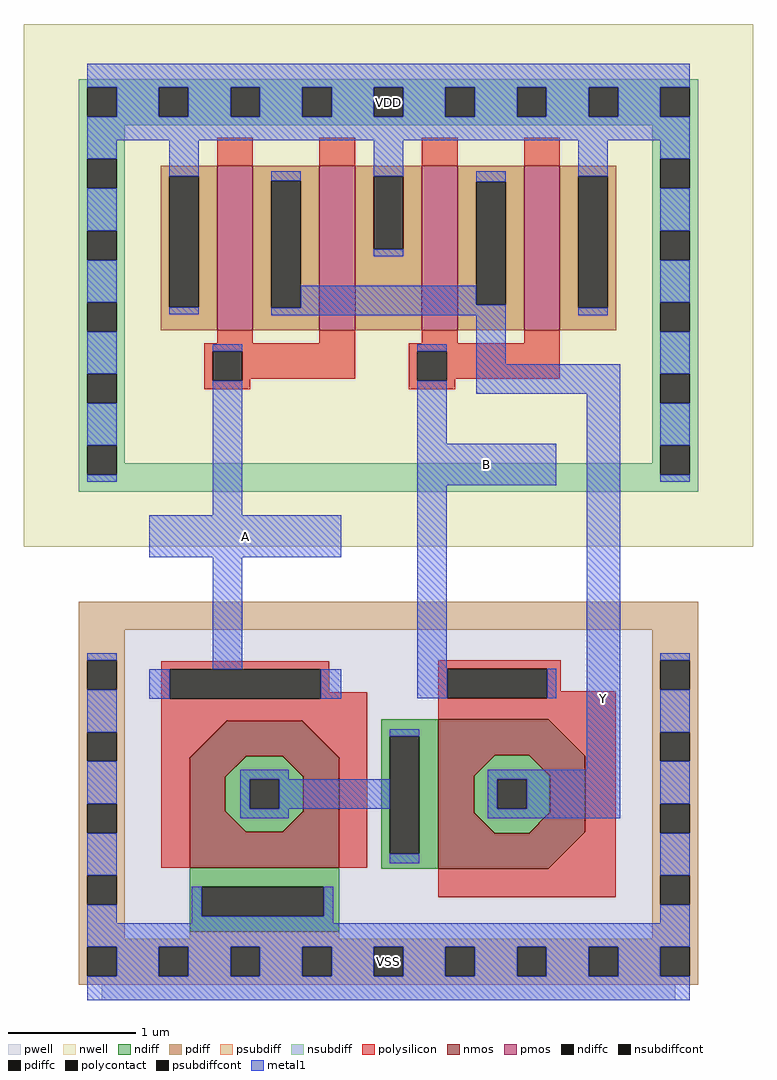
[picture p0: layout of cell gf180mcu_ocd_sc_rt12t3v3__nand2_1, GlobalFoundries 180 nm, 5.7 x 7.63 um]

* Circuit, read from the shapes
.subckt gf180mcu_ocd_sc_rt12t3v3__nand2_1 VDD VSS Y B A
XM1 n1 A VSS VSS nfet_03v3 w=1.785u l=0.5364u
XM2 Y B n1 VSS nfet_03v3 w=1.785u l=0.5424u
XM3 Y A VDD VDD pfet_03v3 w=1.285u l=0.28u m=2
XM4 Y B VDD VDD pfet_03v3 w=1.285u l=0.28u m=2
.ends

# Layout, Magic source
magic
tech gf180mcuD
magscale 1 10
<< nwell >>
rect -122 649 1018 1466
<< pwell >>
rect -36 -36 932 563
rect 0 -60 896 -36
<< nmos >>
tri 137 319 195 377 se
rect 195 321 313 377
rect 195 319 223 321
tri 223 319 225 321 nw
tri 283 319 285 321 ne
rect 285 319 313 321
tri 313 319 371 377 sw
rect 137 203 193 319
tri 193 289 223 319 nw
tri 285 289 315 319 ne
tri 193 203 225 235 sw
tri 283 203 315 235 se
rect 315 203 371 319
rect 137 147 371 203
rect 526 323 698 379
rect 526 201 582 323
tri 582 291 614 323 nw
tri 668 293 698 323 ne
tri 698 321 756 379 sw
rect 698 293 756 321
tri 698 291 700 293 ne
tri 582 201 614 233 sw
tri 698 231 700 233 se
rect 700 231 756 293
tri 668 201 698 231 se
rect 698 203 756 231
rect 526 145 698 201
tri 698 145 756 203 nw
<< pmos >>
rect 180 987 236 1244
rect 340 987 396 1244
rect 500 987 556 1244
rect 660 987 716 1244
<< ndiff >>
tri 223 319 225 321 se
rect 225 319 283 321
tri 283 319 285 321 sw
tri 193 289 223 319 se
rect 223 289 285 319
tri 285 289 315 319 sw
rect 193 285 315 289
rect 193 239 231 285
rect 277 239 315 285
rect 193 235 315 239
tri 193 203 225 235 ne
rect 225 203 283 235
tri 283 203 315 235 nw
rect 437 352 526 379
rect 437 169 450 352
rect 496 169 526 352
tri 582 291 614 323 se
rect 614 293 668 323
tri 668 293 698 323 sw
rect 614 291 698 293
tri 698 291 700 293 sw
rect 582 285 700 291
rect 582 239 618 285
rect 664 239 700 285
rect 582 233 700 239
tri 582 201 614 233 ne
rect 614 231 698 233
tri 698 231 700 233 nw
rect 614 201 668 231
tri 668 201 698 231 nw
rect 137 117 371 147
rect 437 145 526 169
rect 137 71 156 117
rect 347 71 371 117
rect 137 47 371 71
<< pdiff >>
rect 92 1228 180 1244
rect 92 1023 105 1228
rect 151 1023 180 1228
rect 92 987 180 1023
rect 236 1221 340 1244
rect 236 1022 265 1221
rect 311 1022 340 1221
rect 236 987 340 1022
rect 396 1228 500 1244
rect 396 1114 425 1228
rect 471 1114 500 1228
rect 396 987 500 1114
rect 556 1219 660 1244
rect 556 1027 585 1219
rect 631 1027 660 1219
rect 556 987 660 1027
rect 716 1228 804 1244
rect 716 1022 745 1228
rect 791 1022 804 1228
rect 716 987 804 1022
<< ndiffc >>
rect 231 239 277 285
rect 450 169 496 352
rect 618 239 664 285
rect 156 71 347 117
<< pdiffc >>
rect 105 1023 151 1228
rect 265 1022 311 1221
rect 425 1114 471 1228
rect 585 1027 631 1219
rect 745 1022 791 1228
<< psubdiff >>
rect -36 519 932 563
rect -36 471 36 519
rect 860 471 932 519
rect -36 425 -23 471
rect 23 425 36 471
rect -36 359 36 425
rect -36 313 -23 359
rect 23 313 36 359
rect -36 247 36 313
rect -36 201 -23 247
rect 23 201 36 247
rect -36 135 36 201
rect 860 425 873 471
rect 919 425 932 471
rect -36 89 -23 135
rect 23 89 36 135
rect -36 36 36 89
rect 860 359 932 425
rect 860 313 873 359
rect 919 313 932 359
rect 860 247 932 313
rect 860 201 873 247
rect 919 201 932 247
rect 860 135 932 201
rect 137 36 371 47
rect 860 89 873 135
rect 919 89 932 135
rect 860 36 932 89
rect -36 23 932 36
rect -36 -23 -23 23
rect 23 -23 89 23
rect 135 -23 201 23
rect 247 -23 313 23
rect 359 -23 425 23
rect 471 -23 537 23
rect 583 -23 649 23
rect 695 -23 761 23
rect 807 -23 873 23
rect 919 -23 932 23
rect -36 -36 932 -23
<< nsubdiff >>
rect -36 1367 932 1380
rect -36 1321 -23 1367
rect 23 1321 89 1367
rect 135 1321 201 1367
rect 247 1321 313 1367
rect 359 1321 425 1367
rect 471 1321 537 1367
rect 583 1321 649 1367
rect 695 1321 761 1367
rect 807 1321 873 1367
rect 919 1321 932 1367
rect -36 1308 932 1321
rect -36 1255 36 1308
rect -36 1209 -23 1255
rect 23 1209 36 1255
rect 860 1255 932 1308
rect -36 1143 36 1209
rect -36 1097 -23 1143
rect 23 1097 36 1143
rect -36 1031 36 1097
rect -36 985 -23 1031
rect 23 985 36 1031
rect 860 1209 873 1255
rect 919 1209 932 1255
rect 860 1143 932 1209
rect 860 1097 873 1143
rect 919 1097 932 1143
rect 860 1031 932 1097
rect -36 919 36 985
rect -36 873 -23 919
rect 23 873 36 919
rect 860 985 873 1031
rect 919 985 932 1031
rect 860 919 932 985
rect -36 807 36 873
rect -36 761 -23 807
rect 23 779 36 807
rect 860 873 873 919
rect 919 873 932 919
rect 860 807 932 873
rect 860 779 873 807
rect 23 761 873 779
rect 919 761 932 807
rect -36 735 932 761
<< psubdiffcont >>
rect -23 425 23 471
rect -23 313 23 359
rect -23 201 23 247
rect 873 425 919 471
rect -23 89 23 135
rect 873 313 919 359
rect 873 201 919 247
rect 873 89 919 135
rect -23 -23 23 23
rect 89 -23 135 23
rect 201 -23 247 23
rect 313 -23 359 23
rect 425 -23 471 23
rect 537 -23 583 23
rect 649 -23 695 23
rect 761 -23 807 23
rect 873 -23 919 23
<< nsubdiffcont >>
rect -23 1321 23 1367
rect 89 1321 135 1367
rect 201 1321 247 1367
rect 313 1321 359 1367
rect 425 1321 471 1367
rect 537 1321 583 1367
rect 649 1321 695 1367
rect 761 1321 807 1367
rect 873 1321 919 1367
rect -23 1209 23 1255
rect -23 1097 23 1143
rect -23 985 23 1031
rect 873 1209 919 1255
rect 873 1097 919 1143
rect -23 873 23 919
rect 873 985 919 1031
rect -23 761 23 807
rect 873 873 919 919
rect 873 761 919 807
<< polysilicon >>
rect 180 1244 236 1288
rect 340 1244 396 1288
rect 500 1244 556 1288
rect 660 1244 716 1288
rect 180 967 236 987
rect 340 967 396 987
rect 500 967 556 987
rect 660 967 716 987
rect 160 954 396 967
rect 160 908 173 954
rect 219 911 396 954
rect 480 954 716 967
rect 219 908 232 911
rect 160 895 232 908
rect 480 908 493 954
rect 539 911 716 954
rect 539 908 552 911
rect 480 895 552 908
rect 93 457 355 470
rect 93 411 106 457
rect 342 421 355 457
rect 526 458 717 471
rect 342 411 415 421
rect 93 377 415 411
rect 526 412 540 458
rect 696 423 717 458
rect 696 412 803 423
rect 526 379 803 412
rect 93 147 137 377
tri 137 319 195 377 nw
tri 313 319 371 377 ne
rect 371 147 415 377
tri 698 321 756 379 ne
tri 698 145 756 203 se
rect 756 145 803 379
rect 526 101 803 145
<< polycontact >>
rect 173 908 219 954
rect 493 908 539 954
rect 106 411 342 457
rect 540 412 696 458
<< metal1 >>
rect -23 1367 919 1404
rect 23 1321 89 1367
rect 135 1321 201 1367
rect 247 1321 313 1367
rect 359 1321 425 1367
rect 471 1321 537 1367
rect 583 1321 649 1367
rect 695 1321 761 1367
rect 807 1321 873 1367
rect -23 1284 919 1321
rect -23 1255 23 1284
rect -23 1143 23 1209
rect -23 1031 23 1097
rect 105 1228 151 1284
rect 105 1012 151 1023
rect 265 1221 311 1236
rect 425 1228 471 1284
rect 425 1103 471 1114
rect 585 1219 631 1236
rect 311 1027 585 1057
rect 311 1022 631 1027
rect 265 1011 631 1022
rect 745 1228 791 1284
rect 745 1011 791 1022
rect 873 1255 919 1284
rect 873 1143 919 1209
rect 873 1031 919 1097
rect -23 919 23 985
rect -23 807 23 873
rect -23 750 23 761
rect 173 954 219 965
rect 173 698 219 908
rect 493 954 539 965
rect 493 810 539 908
rect 585 934 631 1011
rect 585 888 810 934
rect 493 745 710 810
rect 74 632 374 698
rect -23 471 23 482
rect 173 457 219 632
rect 493 458 539 745
rect -23 359 23 425
rect 74 411 106 457
rect 342 411 374 457
rect 493 412 540 458
rect 696 412 710 458
rect -23 247 23 313
rect 450 352 496 363
rect 216 285 292 300
rect 216 239 231 285
rect 277 239 450 285
rect 216 224 292 239
rect -23 135 23 201
rect 758 300 810 888
rect 873 919 919 985
rect 873 807 919 873
rect 873 750 919 761
rect 603 285 810 300
rect 603 239 618 285
rect 664 239 810 285
rect 603 224 810 239
rect 873 471 919 482
rect 873 359 919 425
rect 873 247 919 313
rect 450 154 496 169
rect 873 135 919 201
rect -23 60 23 89
rect 140 71 156 117
rect 347 71 362 117
rect 140 60 362 71
rect 873 60 919 89
rect -23 23 919 60
rect 23 -23 89 23
rect 135 -23 201 23
rect 247 -23 313 23
rect 359 -23 425 23
rect 471 -23 537 23
rect 583 -23 649 23
rect 695 -23 761 23
rect 807 -23 873 23
rect -23 -60 919 -23
<< labels >>
flabel metal1 s 0 -60 896 60 0 FreeSans 400 0 0 0 VSS
port 4 nsew ground bidirectional abutment
flabel metal1 s 758 224 810 598 0 FreeSans 320 0 0 0 Y
port 8 nsew
flabel metal1 s 0 1284 896 1404 0 FreeSans 400 0 0 0 VDD
port 1 nsew power bidirectional abutment
flabel metal1 s 493 745 710 810 0 FreeSans 320 0 0 0 B
port 9 nsew
flabel metal1 s 74 632 374 698 0 FreeSans 320 0 0 0 A
port 10 nsew
<< properties >>
string FIXED_BBOX 0 0 896 1344
<< end >>
